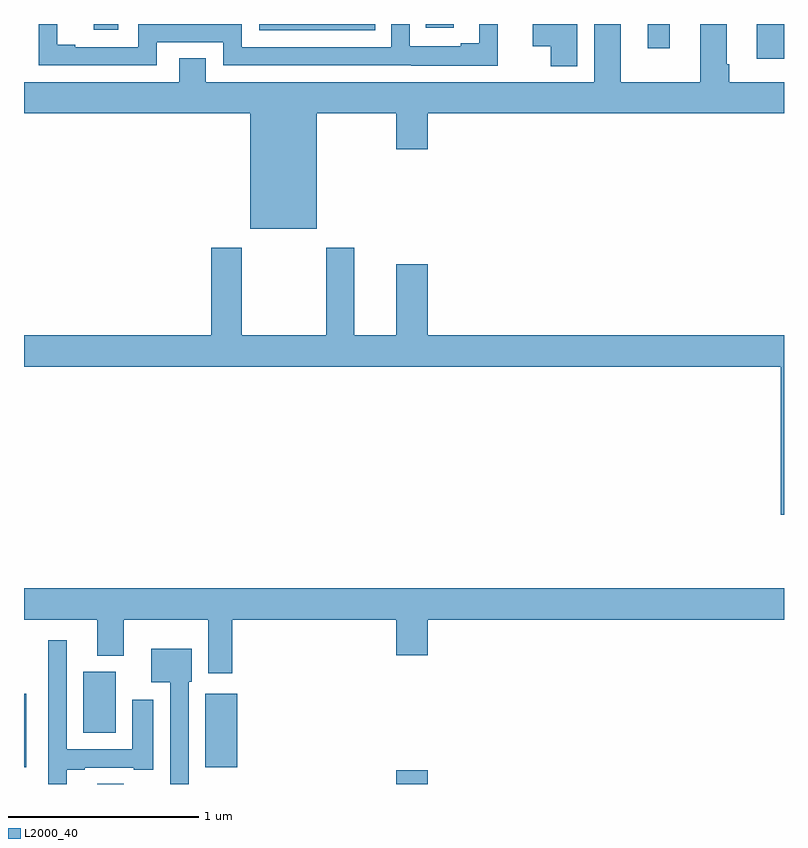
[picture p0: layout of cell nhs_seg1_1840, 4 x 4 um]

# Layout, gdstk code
import gdstk
lib = gdstk.Library(unit=1e-6, precision=1e-09)
def R(c, l, rs):  # rectangles x0, y0, x1, y1
    for r in rs: c.add(gdstk.rectangle(r[:2], r[2:], *l))
def P(c, l, *ps):  # polygons
    for p in ps: c.add(gdstk.Polygon(p, *l))
L2000_40 = (2000, 40)

nhs_seg1_1840 = lib.new_cell('nhs_seg1_1840')
R(nhs_seg1_1840, L2000_40, [(211.385,552.199,211.525,552.2), (212.96,552.199,213.124,552.271), (211,552.287,211.012,552.673), (211.955,552.287,212.122,552.673), (211.313,552.47,211.483,552.79), (214.856,556.017,215,556.199), (214.283,556.071,214.399,556.199), (212.238,556.166,212.849,556.199), (211.367,556.17,211.495,556.199), (213.115,556.179,213.262,556.199)])
P(nhs_seg1_1840, L2000_40, [(212.542,555.728),(212.96,555.728),(212.96,555.54),(213.124,555.54),(213.124,555.728),(215,555.728),(215,555.892),(214.712,555.892),(214.712,555.988),(214.699,555.988),(214.699,556.199),(214.559,556.199),(214.559,555.892),(214.141,555.892),(214.141,556.199),(214.001,556.199),(214.001,555.892),(211.957,555.892),(211.957,556.019),(211.817,556.019),(211.817,555.892),(211,555.892),(211,555.728),(212.192,555.728),(212.192,555.122),(212.542,555.122)],
  [(213.494,556.199),(213.395,556.199),(213.395,556.099),(213.299,556.099),(213.299,556.081),(213.03,556.081),(213.03,556.199),(212.934,556.199),(212.934,556.077),(212.145,556.077),(212.145,556.199),(211.602,556.199),(211.602,556.077),(211.27,556.077),(211.27,556.09),(211.175,556.09),(211.175,556.199),(211.077,556.199),(211.077,555.981),(211.698,555.981),(211.698,556.104),(212.049,556.104),(212.049,555.981),(213.037,555.981),(213.037,555.98),(213.494,555.98)],
  [(213.913,556.199),(213.677,556.199),(213.677,556.082),(213.773,556.082),(213.773,555.977),(213.913,555.977)],
  [(215,554.56),(213.124,554.56),(213.124,554.935),(212.96,554.935),(212.96,554.56),(212.737,554.56),(212.737,555.022),(212.59,555.022),(212.59,554.56),(212.145,554.56),(212.145,555.022),(211.985,555.022),(211.985,554.56),(211,554.56),(211,554.396),(214.982,554.396),(214.982,553.617),(215,553.617)],
  [(212.096,553.064),(212.96,553.064),(212.96,552.876),(213.124,552.876),(213.124,553.064),(215,553.064),(215,553.228),(211,553.228),(211,553.064),(211.385,553.064),(211.385,552.875),(211.525,552.875),(211.525,553.064),(211.97,553.064),(211.97,552.783),(212.096,552.783)],
  [(211.225,552.273),(211.321,552.273),(211.321,552.285),(211.577,552.285),(211.577,552.273),(211.681,552.273),(211.681,552.643),(211.571,552.643),(211.571,552.381),(211.224,552.381),(211.224,552.955),(211.128,552.955),(211.128,552.199),(211.225,552.199)],
  [(211.866,552.738),(211.882,552.738),(211.882,552.91),(211.67,552.91),(211.67,552.734),(211.77,552.734),(211.77,552.199),(211.866,552.199)])

lib.write_gds('nhs_seg1_1840.gds')
